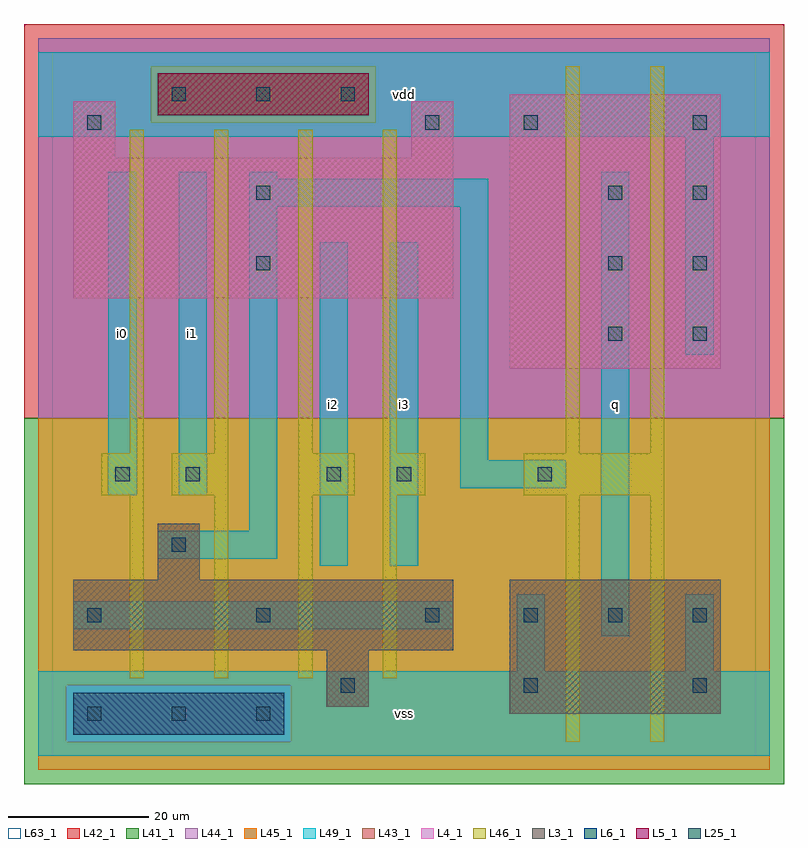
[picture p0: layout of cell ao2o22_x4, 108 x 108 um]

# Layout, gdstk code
import gdstk
lib = gdstk.Library(unit=1e-6, precision=1e-09)
def R(c, l, rs):  # rectangles x0, y0, x1, y1
    for r in rs: c.add(gdstk.rectangle(r[:2], r[2:], *l))
def A(c, l, x, y, w, h, nx, ny, dx, dy):  # array of equal rectangles
    R(c, l, [(x+i*dx, y+j*dy, x+i*dx+w, y+j*dy+h) for i in range(nx) for j in range(ny)])
L3_1 = (3, 1)
L4_1 = (4, 1)
L5_1 = (5, 1)
L6_1 = (6, 1)
L25_1 = (25, 1)
L41_1 = (41, 1)
L42_1 = (42, 1)
L43_1 = (43, 1)
L44_1 = (44, 1)
L45_1 = (45, 1)
L46_1 = (46, 1)
L49_1 = (49, 1)
L63_1 = (63, 1)

ao2o22_x4 = lib.new_cell('ao2o22_x4')
R(ao2o22_x4, L3_1, [(65,6,95,25), (39,7,45,15), (3,15,57,25), (15,25,21,33)])
R(ao2o22_x4, L4_1, [(65,55,95,94), (3,65,57,85), (3,85,9,93), (51,85,57,93)])
R(ao2o22_x4, L5_1, [(15,91,45,97)])
R(ao2o22_x4, L6_1, [(3,3,33,9), (3,3,33,9)])
A(ao2o22_x4, L25_1, 5, 5, 2, 2, 3, 1, 12, 0)
A(ao2o22_x4, L25_1, 5, 19, 2, 2, 3, 1, 24, 0)
A(ao2o22_x4, L25_1, 67, 19, 2, 2, 3, 1, 12, 0)
A(ao2o22_x4, L25_1, 79, 59, 2, 2, 1, 3, 0, 10)
A(ao2o22_x4, L25_1, 91, 59, 2, 2, 1, 4, 0, 10)
A(ao2o22_x4, L25_1, 17, 93, 2, 2, 3, 1, 12, 0)
R(ao2o22_x4, L25_1, [(41,9,43,11), (67,9,69,11), (91,9,93,11), (17,29,19,31), (9,39,11,41), (19,39,21,41), (39,39,41,41), (49,39,51,41), (69,39,71,41), (29,69,31,71), (29,79,31,81), (5,89,7,91), (53,89,55,91), (67,89,69,91)])
R(ao2o22_x4, L41_1, [(-4,-4,104,48)])
R(ao2o22_x4, L42_1, [(-4,48,104,104)])
R(ao2o22_x4, L43_1, [(3,3,33,9), (65,6,95,25), (39,7,45,15), (3,15,57,25), (15,25,21,33), (65,55,95,94), (3,65,57,85), (3,85,9,93), (51,85,57,93), (15,91,45,97)])
R(ao2o22_x4, L44_1, [(2,2,34,10), (-2,48,102,90), (-2,90,14,98), (46,90,102,98), (-2,98,102,102)])
R(ao2o22_x4, L45_1, [(-2,-2,102,2), (-2,2,2,10), (34,2,102,10), (-2,10,102,48), (14,90,46,98)])
A(ao2o22_x4, L46_1, 11, 11, 2, 26, 4, 1, 12, 0)
A(ao2o22_x4, L46_1, 11, 43, 2, 46, 4, 1, 12, 0)
R(ao2o22_x4, L46_1, [(73,2,75,37), (85,2,87,37), (7,37,13,43), (17,37,25,43), (35,37,43,43), (47,37,53,43), (67,37,87,43), (73,43,75,98), (85,43,87,98)])
R(ao2o22_x4, L49_1, [(-2,0,102,12), (66,12,70,23), (90,12,94,23), (78,17,82,83), (3,18,57,22), (38,27,42,73), (48,27,52,73), (15,28,32,32), (28,32,32,78), (8,37,12,83), (18,37,22,83), (58,38,73,42), (58,42,62,78), (90,57,94,88), (28,78,62,82), (28,82,32,83), (-2,88,102,100)])
R(ao2o22_x4, L63_1, [(0,0,100,100)])
ao2o22_x4.add(gdstk.Label('i0', (10,60), layer=49, texttype=1))
ao2o22_x4.add(gdstk.Label('i1', (20,60), layer=49, texttype=1))
ao2o22_x4.add(gdstk.Label('i2', (40,50), layer=49, texttype=1))
ao2o22_x4.add(gdstk.Label('vss', (50,6), layer=49, texttype=1))
ao2o22_x4.add(gdstk.Label('i3', (50,50), layer=49, texttype=1))
ao2o22_x4.add(gdstk.Label('vdd', (50,94), layer=49, texttype=1))
ao2o22_x4.add(gdstk.Label('q', (80,50), layer=49, texttype=1))

lib.write_gds('ao2o22_x4.gds')
